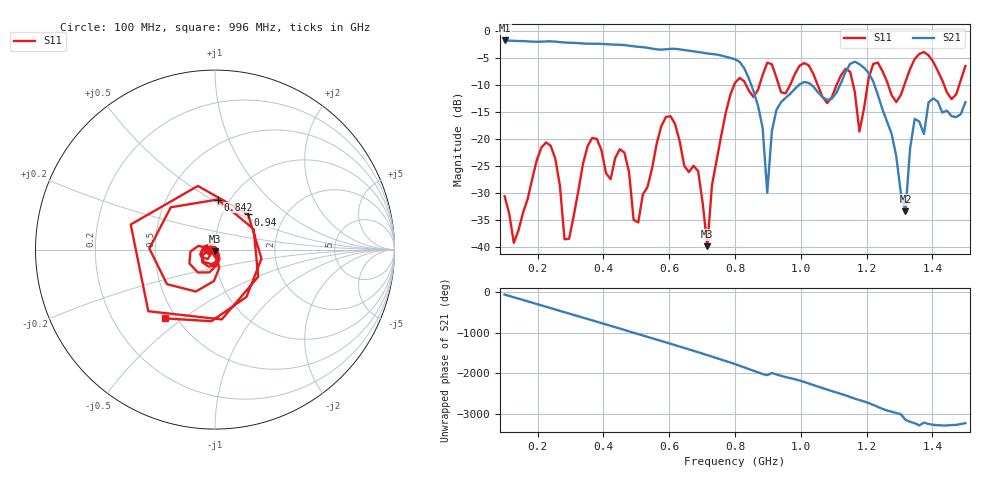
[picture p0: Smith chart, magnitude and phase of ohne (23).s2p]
! NanoVNA-App
! Date: 2025-09-26 09:55:34
! Start: 100MHz Stop: 1,5GHz Points: 101
! S-Parameter data: F S11 S21 S12 S22
# Hz S RI R 50
!  Frequency  S11_Real  S11_Imag  S21_Real  S21_Imag  S12_Real  S12_Imag  S22_Real  S22_Imag
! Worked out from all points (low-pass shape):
!   101 points, 100 MHz to 1.5 GHz, reference 50 ohm
!   highest |S21| = -1.79 dB at 100 MHz (marker M1); lowest = -33.4 dB at 1.318 GHz (marker M2)
!   |S21| within 3 dB of the highest: start of sweep to 771.3 MHz
!   lowest |S11| = -39.9 dB at 716 MHz (marker M3), VSWR 1.02, Z = 49.8 - j1 ohm
!   |S11| at or under -10 dB: start of sweep to 797.7 MHz; 833.3 MHz to 874.7 MHz (41.38 MHz wide, 4.85 % of centre); 1.051 GHz to 1.109 GHz (58.06 MHz wide, 5.38 % of centre)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
!   S12 and S22 are empty: the file has one direction only
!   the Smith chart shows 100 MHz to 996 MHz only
!   S11 on the Smith chart (normalised r, x): 100 MHz: 0.94, -0.01; 842 MHz: 0.88, +0.53; 940 MHz: 1.32, +0.56; 996 MHz: 0.43, -0.43
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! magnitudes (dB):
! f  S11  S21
! 100 MHz  -30.6  -1.8
! 128 MHz  -39.3  -1.9
! 226 MHz  -20.7  -2.0
! 296 MHz  -38.5  -2.2
! 338 MHz  -24.7  -2.3
! 464 MHz  -22.6  -2.7
! 506 MHz  -35.5  -3.0
! 576 MHz  -17.7  -3.5
! 688 MHz  -26.0  -3.9
! 716 MHz  -39.9  -4.2
! 800 MHz  -9.6  -5.3
! 842 MHz  -11.1  -8.8
! 898 MHz  -5.9  -30.0
! 940 MHz  -11.4  -13.2
! 996 MHz  -6.5  -9.9
! 1.038 GHz  -8.0  -10.3
! 1.178 GHz  -18.6  -6.2
! 1.22 GHz  -6.1  -9.4
! 1.276 GHz  -11.9  -19.1
! 1.318 GHz  -9.4  -33.4
! 1.346 GHz  -5.2  -16.3
! 1.5 GHz  -6.5  -13.2
